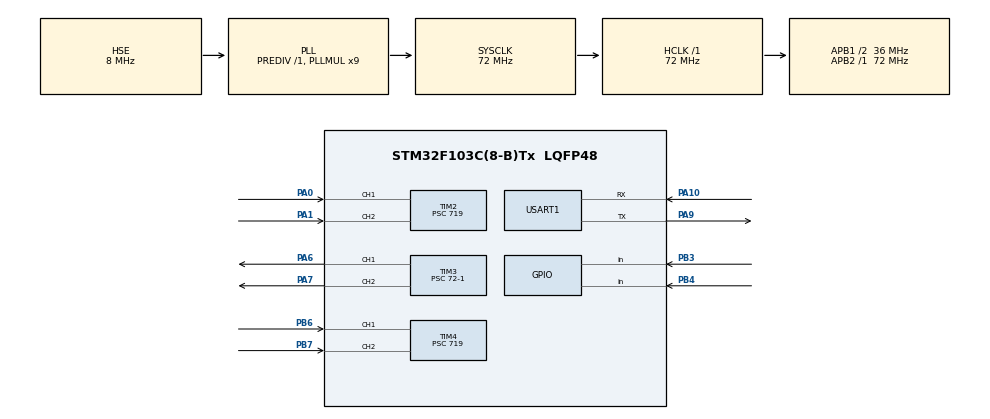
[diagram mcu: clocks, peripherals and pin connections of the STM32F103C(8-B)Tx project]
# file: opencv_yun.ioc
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Dma.Request0=USART1_RX
Dma.Request1=USART1_TX
Dma.USART1_RX.0.Direction=DMA_PERIPH_TO_MEMORY
Dma.USART1_RX.0.Instance=DMA1_Channel5
Dma.USART1_RX.0.MemDataAlignment=DMA_MDATAALIGN_BYTE
Dma.USART1_RX.0.MemInc=DMA_MINC_ENABLE
Dma.USART1_RX.0.Mode=DMA_CIRCULAR
Dma.USART1_RX.0.PeriphDataAlignment=DMA_PDATAALIGN_BYTE
Dma.USART1_RX.0.PeriphInc=DMA_PINC_DISABLE
Dma.USART1_RX.0.Priority=DMA_PRIORITY_LOW
Dma.USART1_TX.1.Direction=DMA_MEMORY_TO_PERIPH
Dma.USART1_TX.1.Instance=DMA1_Channel4
Dma.USART1_TX.1.MemDataAlignment=DMA_MDATAALIGN_BYTE
Dma.USART1_TX.1.MemInc=DMA_MINC_ENABLE
Dma.USART1_TX.1.Mode=DMA_NORMAL
Dma.USART1_TX.1.PeriphDataAlignment=DMA_PDATAALIGN_BYTE
Dma.USART1_TX.1.PeriphInc=DMA_PINC_DISABLE
Dma.USART1_TX.1.Priority=DMA_PRIORITY_LOW
Mcu.Family=STM32F1
Mcu.Name=STM32F103C(8-B)Tx
Mcu.Package=LQFP48
NVIC.DMA1_Channel4_IRQn=true\:0\:0\:false\:false\:true\:false\:true\:true
NVIC.DMA1_Channel5_IRQn=true\:0\:0\:false\:false\:true\:false\:true\:true
NVIC.PriorityGroup=NVIC_PRIORITYGROUP_4
NVIC.TIM3_IRQn=true\:2\:0\:true\:false\:true\:true\:true\:true
NVIC.USART1_IRQn=true\:1\:0\:true\:false\:true\:true\:true\:true
PA0-WKUP.Signal=S_TIM2_CH1_ETR
PA1.Signal=S_TIM2_CH2
PA10.Mode=Asynchronous
PA10.Signal=USART1_RX
PA13.Mode=Serial_Wire
PA13.Signal=SYS_JTMS-SWDIO
PA14.Mode=Serial_Wire
PA14.Signal=SYS_JTCK-SWCLK
PA6.Signal=S_TIM3_CH1
PA7.Signal=S_TIM3_CH2
PA9.Mode=Asynchronous
PA9.Signal=USART1_TX
PB3.Signal=GPIO_Input
PB4.Signal=GPIO_Input
PB6.Signal=S_TIM4_CH1
PB7.Signal=S_TIM4_CH2
PD0-OSC_IN.Mode=HSE-External-Oscillator
PD0-OSC_IN.Signal=RCC_OSC_IN
PD1-OSC_OUT.Mode=HSE-External-Oscillator
PD1-OSC_OUT.Signal=RCC_OSC_OUT
ProjectManager.HeapSize=0x200
ProjectManager.StackSize=0x400
ProjectManager.TargetToolchain=MDK-ARM V5.32
RCC.AHBFreq_Value=72000000
RCC.APB1CLKDivider=RCC_HCLK_DIV2
RCC.APB1Freq_Value=36000000
RCC.APB1TimFreq_Value=72000000
RCC.APB2Freq_Value=72000000
RCC.APB2TimFreq_Value=72000000
RCC.HCLKFreq_Value=72000000
RCC.PLLMUL=RCC_PLL_MUL9
RCC.PLLSourceVirtual=RCC_PLLSOURCE_HSE
RCC.SYSCLKFreq_VALUE=72000000
RCC.SYSCLKSource=RCC_SYSCLKSOURCE_PLLCLK
RCC.USBFreq_Value=72000000
SH.S_TIM2_CH1_ETR.0=TIM2_CH1,Encoder_Interface
SH.S_TIM2_CH2.0=TIM2_CH2,Encoder_Interface
SH.S_TIM3_CH1.0=TIM3_CH1,PWM Generation1 CH1
SH.S_TIM3_CH2.0=TIM3_CH2,PWM Generation2 CH2
SH.S_TIM4_CH1.0=TIM4_CH1,Encoder_Interface
SH.S_TIM4_CH2.0=TIM4_CH2,Encoder_Interface
TIM2.IC1Filter=15
TIM2.IC2Filter=15
TIM2.Period=19999
TIM2.Prescaler=719
TIM3.Channel-PWM\ Generation1\ CH1=TIM_CHANNEL_1
TIM3.Channel-PWM\ Generation2\ CH2=TIM_CHANNEL_2
TIM3.Period=20000-1
TIM3.Prescaler=72-1
TIM4.IC1Filter=15
TIM4.IC2Filter=15
TIM4.Period=19999
TIM4.Prescaler=719
USART1.VirtualMode=VM_ASYNC
VP_TIM3_VS_ClockSourceINT.Mode=Internal
board=custom

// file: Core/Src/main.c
/* USER CODE BEGIN Header */
/**
  ******************************************************************************
  * @file           : main.c
  * @brief          : Main program body
  ******************************************************************************
  * @attention
  *
  * Copyright (c) 2026 STMicroelectronics.
  * All rights reserved.
  *
  * This software is licensed under terms that can be found in the LICENSE file
  * in the root directory of this software component.
  * If no LICENSE file comes with this software, it is provided AS-IS.
  *
  ******************************************************************************
  */
/* USER CODE END Header */
#include "main.h"
#include "dma.h"
#include "tim.h"
#include "usart.h"
#include "gpio.h"

/* USER CODE BEGIN Includes */
#include "control.h"
/* USER CODE END Includes */

/* USER CODE BEGIN PV */
uint16_t Rx_size = 64;
uint8_t Rx_buffer[64];
uint8_t system_work_state = 0;

/* USER CODE END PV */

void SystemClock_Config(void);

int main(void)
{

  /* MCU Configuration--------------------------------------------------------*/

  /* Reset of all peripherals, Initializes the Flash interface and the Systick. */
  HAL_Init();

  /* Configure the system clock */
  SystemClock_Config();

  /* Initialize all configured peripherals */
  MX_GPIO_Init();
  MX_DMA_Init();
  MX_TIM3_Init();
  MX_USART1_UART_Init();
  MX_TIM4_Init();
  MX_TIM2_Init();
  /* USER CODE BEGIN 2 */
	HAL_TIM_PWM_Start(&htim3,TIM_CHANNEL_1);
	HAL_TIM_PWM_Start(&htim3,TIM_CHANNEL_2);

	 //HAL_TIM_Base_Start_IT(&htim4);

	HAL_UART_Receive_DMA(&huart1, Rx_buffer, Rx_size);
	__HAL_UART_ENABLE_IT(&huart1, UART_IT_IDLE);
	Servo_SetAngleX(0);
	Servo_SetAngleY(0);
	HAL_Delay(1000);
  /* USER CODE END 2 */

  /* Infinite loop */
  while (1)
  {

  }
}

void SystemClock_Config(void)
{
  RCC_OscInitTypeDef RCC_OscInitStruct = {0};
  RCC_ClkInitTypeDef RCC_ClkInitStruct = {0};

  /** Initializes the RCC Oscillators according to the specified parameters
  * in the RCC_OscInitTypeDef structure.
  */
  RCC_OscInitStruct.OscillatorType = RCC_OSCILLATORTYPE_HSE;
  RCC_OscInitStruct.HSEState = RCC_HSE_ON;
  RCC_OscInitStruct.HSEPredivValue = RCC_HSE_PREDIV_DIV1;
  RCC_OscInitStruct.HSIState = RCC_HSI_ON;
  RCC_OscInitStruct.PLL.PLLState = RCC_PLL_ON;
  RCC_OscInitStruct.PLL.PLLSource = RCC_PLLSOURCE_HSE;
  RCC_OscInitStruct.PLL.PLLMUL = RCC_PLL_MUL9;
  if (HAL_RCC_OscConfig(&RCC_OscInitStruct) != HAL_OK)
  {
    Error_Handler();
  }

  /** Initializes the CPU, AHB and APB buses clocks
  */
  RCC_ClkInitStruct.ClockType = RCC_CLOCKTYPE_HCLK|RCC_CLOCKTYPE_SYSCLK
                              |RCC_CLOCKTYPE_PCLK1|RCC_CLOCKTYPE_PCLK2;
  RCC_ClkInitStruct.SYSCLKSource = RCC_SYSCLKSOURCE_PLLCLK;
  RCC_ClkInitStruct.AHBCLKDivider = RCC_SYSCLK_DIV1;
  RCC_ClkInitStruct.APB1CLKDivider = RCC_HCLK_DIV2;
  RCC_ClkInitStruct.APB2CLKDivider = RCC_HCLK_DIV1;

  if (HAL_RCC_ClockConfig(&RCC_ClkInitStruct, FLASH_LATENCY_2) != HAL_OK)
  {
    Error_Handler();
  }
}

/* USER CODE BEGIN 4 */
void HAL_TIM_PeriodElapsedCallback(TIM_HandleTypeDef *htim)
{
    if (htim->Instance == TIM4)
    {
        // 1. 如果当前系统允许执行舵机控制，则照常控制
        if (system_work_state == 1)
        {
            control_servo();
        }

        // 2. 异步按键状态机扫描（完全不阻塞，不使用 HAL_Delay）
        // 支持 PB4 和 PB5 独立或共同控制
        static uint8_t key_state = 0; // 状态机变量：0-等待按下, 1-消抖与松开检测

        // 读取引脚状态：只要有一个按下即为低电平 (RESET)
        uint8_t pin_b4 = HAL_GPIO_ReadPin(GPIOB, GPIO_PIN_4);
        uint8_t pin_b5 = HAL_GPIO_ReadPin(GPIOB, GPIO_PIN_5);

        switch (key_state)
        {
            case 0:
                // 如果检测到任意按键被按下
                if (pin_b4 == GPIO_PIN_RESET || pin_b5 == GPIO_PIN_RESET)
                {
                    key_state = 1; // 切换到消抖与等待松开状态
                }
                break;

            case 1:
                // 必须等到所有按键都松开（恢复为高电平 SET）
                if (pin_b4 == GPIO_PIN_SET && pin_b5 == GPIO_PIN_SET)
                {
                    key_state = 0; // 恢复初始状态，准备下一次动作

                    /* 执行开关翻转控制（松开时触发） */
                    if (system_work_state == 1)
                    {
                        system_work_state = 0;

                        // 停止 UART 接收（不再响应视觉）
                        HAL_UART_DMAStop(&huart1);
                        __HAL_UART_DISABLE_IT(&huart1, UART_IT_IDLE);

                        // 注意：这里【不要】调用 HAL_TIM_Base_Stop_IT(&htim4)
                        // 因为我们正处在 TIM4 中断里，如果把它关了，下次按键就无法开机了。
                        // 我们通过上面 if(system_work_state == 1) 屏蔽控制逻辑来实现“关闭效果”。
                    }
                    else
                    {
                        system_work_state = 1;

                        // 重新启动 UART 的 DMA 接收与空闲中断
                        HAL_UART_Receive_DMA(&huart1, Rx_buffer, Rx_size);
                        __HAL_UART_ENABLE_IT(&huart1, UART_IT_IDLE);
                    }
                }
                break;

            default:
                key_state = 0;
                break;
        }
    }
}
/* USER CODE END 4 */

void Error_Handler(void)
{
  __disable_irq();
  while (1)
  {
  }
}
